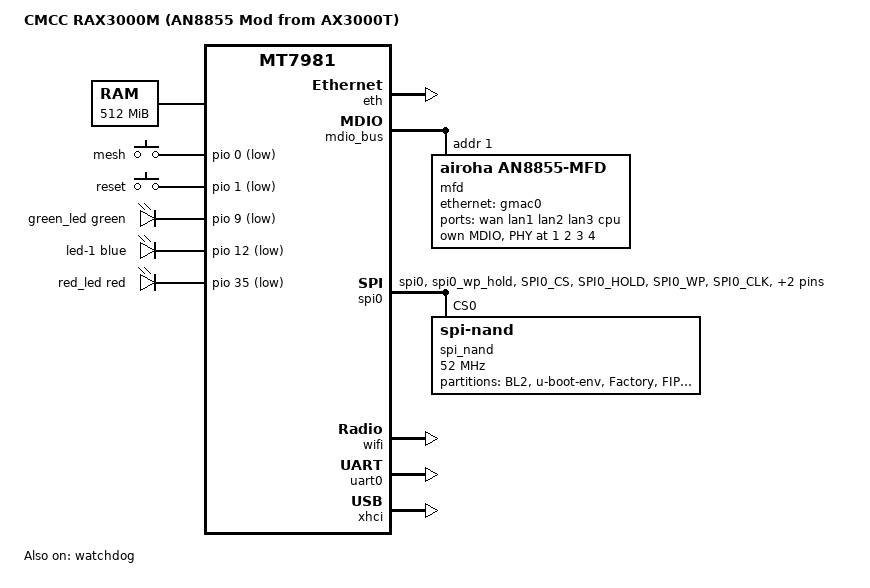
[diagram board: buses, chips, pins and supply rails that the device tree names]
// SPDX-License-Identifier: GPL-2.0-or-later OR MIT
/*
 * Modified Xiaomi AX3000T DTS for CMCC RAX3000Me (AN8855)
 * 适配机型：RAX3000Me (AN8855)
 * 核心修改：内存大小、LED、交换机、分区表、USB
 */

/dts-v1/;
#include <dt-bindings/input/input.h>
#include <dt-bindings/gpio/gpio.h>
#include <dt-bindings/leds/common.h>

#include "mt7981.dtsi"

/ {
	/* 模型名称改一下，方便识别，编译不影响 */
	model = "CMCC RAX3000M (AN8855 Mod from AX3000T)";
	compatible = "cmcc,rax3000m", "xiaomi,mi-router-ax3000t", "mediatek,mt7981";

	aliases {
		serial0 = &uart0;
		/* 映射 RAX3000M 的 LED (红/绿) */
		led-boot = &red_led;
		led-failsafe = &red_led;
		led-running = &green_led;
		led-upgrade = &green_led;
	};

	chosen {
		stdout-path = "serial0:115200n8";
	};

	memory {
		/* RAX3000M 是 512MB 内存，小米是 256MB。这里必须改为 512MB */
		reg = <0 0x40000000 0 0x20000000>;
	};

	gpio-keys {
		compatible = "gpio-keys";

		button-mesh {
			label = "mesh";
			/* RAX3000M Mesh 键 */
			gpios = <&pio 0 GPIO_ACTIVE_LOW>;
			linux,code = <BTN_9>;
			linux,input-type = <EV_SW>;
		};

		button-reset {
			label = "reset";
			/* RAX3000M Reset 键 */
			gpios = <&pio 1 GPIO_ACTIVE_LOW>;
			linux,code = <KEY_RESTART>;
		};
	};

	gpio-leds {
		compatible = "gpio-leds";

		/* RAX3000M 绿色 LED (GPIO 9) */
		green_led: led-0 {
			color = <LED_COLOR_ID_GREEN>;
			function = LED_FUNCTION_STATUS;
			gpios = <&pio 9 GPIO_ACTIVE_LOW>;
		};

		/* RAX3000M 蓝色 LED (GPIO 12) */
		led-1 {
			color = <LED_COLOR_ID_BLUE>;
			function = LED_FUNCTION_STATUS;
			gpios = <&pio 12 GPIO_ACTIVE_LOW>;
		};

		/* RAX3000M 红色 LED (GPIO 35) */
		red_led: led-2 {
			color = <LED_COLOR_ID_RED>;
			function = LED_FUNCTION_STATUS;
			gpios = <&pio 35 GPIO_ACTIVE_LOW>;
		};
	};
};

&eth {
	status = "okay";

	/* 适配 AN8855，CPU 口连 GMAC0 */
	gmac0: mac@0 {
		compatible = "mediatek,eth-mac";
		reg = <0>;
		phy-mode = "2500base-x";

		fixed-link {
			speed = <2500>;
			full-duplex;
			pause;
		};
	};
};

&mdio_bus {
	/* 彻底移除 MT7531，只保留 AN8855 MFD */
	mfd: mfd@1 {
		compatible = "airoha,an8855-mfd";
		reg = <1>;
	};
};

/* AN8855 交换机详细配置 */
&mfd {
	efuse {
		compatible = "airoha,an8855-efuse";
		#nvmem-cell-cells = <0>;

		nvmem-layout {
			compatible = "fixed-layout";
			#address-cells = <1>;
			#size-cells = <1>;

			shift_sel_port0_tx_a: shift-sel-port0-tx-a@c { reg = <0xc 0x4>; };
			shift_sel_port0_tx_b: shift-sel-port0-tx-b@10 { reg = <0x10 0x4>; };
			shift_sel_port0_tx_c: shift-sel-port0-tx-c@14 { reg = <0x14 0x4>; };
			shift_sel_port0_tx_d: shift-sel-port0-tx-d@18 { reg = <0x18 0x4>; };
			shift_sel_port1_tx_a: shift-sel-port1-tx-a@1c { reg = <0x1c 0x4>; };
			shift_sel_port1_tx_b: shift-sel-port1-tx-b@20 { reg = <0x20 0x4>; };
			shift_sel_port1_tx_c: shift-sel-port1-tx-c@24 { reg = <0x24 0x4>; };
			shift_sel_port1_tx_d: shift-sel-port1-tx-d@28 { reg = <0x28 0x4>; };
			shift_sel_port2_tx_a: shift-sel-port2-tx-a@2c { reg = <0x2c 0x4>; };
			shift_sel_port2_tx_b: shift-sel-port2-tx-b@30 { reg = <0x30 0x4>; };
			shift_sel_port2_tx_c: shift-sel-port2-tx-c@34 { reg = <0x34 0x4>; };
			shift_sel_port2_tx_d: shift-sel-port2-tx-d@38 { reg = <0x38 0x4>; };
			shift_sel_port3_tx_a: shift-sel-port3-tx-a@4c { reg = <0x4c 0x4>; };
			shift_sel_port3_tx_b: shift-sel-port3-tx-b@50 { reg = <0x50 0x4>; };
			shift_sel_port3_tx_c: shift-sel-port3-tx-c@54 { reg = <0x54 0x4>; };
			shift_sel_port3_tx_d: shift-sel-port3-tx-d@58 { reg = <0x58 0x4>; };
		};
	};

	ethernet-switch {
		compatible = "airoha,an8855-switch";
		/* 确保 status 是 okay */
		status = "okay";
		reset-gpios = <&pio 39 GPIO_ACTIVE_HIGH>;
		airoha,ext-surge;

		ports {
			#address-cells = <1>;
			#size-cells = <0>;

			port@0 {
				reg = <0>;
				label = "wan";
				phy-mode = "internal";
				phy-handle = <&internal_phy1>;
			};

			port@1 {
				reg = <1>;
				label = "lan1";
				phy-mode = "internal";
				phy-handle = <&internal_phy2>;
			};

			port@2 {
				reg = <2>;
				label = "lan2";
				phy-mode = "internal";
				phy-handle = <&internal_phy3>;
			};

			port@3 {
				reg = <3>;
				label = "lan3";
				phy-mode = "internal";
				phy-handle = <&internal_phy4>;
			};

			port@5 {
				reg = <5>;
				label = "cpu";
				ethernet = <&gmac0>;
				phy-mode = "2500base-x";

				fixed-link {
					speed = <2500>;
					full-duplex;
					pause;
				};
			};
		};
	};

	mdio {
		compatible = "airoha,an8855-mdio";
		#address-cells = <1>;
		#size-cells = <0>;

		internal_phy1: phy@1 {
			reg = <1>;
			nvmem-cells = <&shift_sel_port0_tx_a>, <&shift_sel_port0_tx_b>, <&shift_sel_port0_tx_c>, <&shift_sel_port0_tx_d>;
			nvmem-cell-names = "tx_a", "tx_b", "tx_c", "tx_d";
		};
		internal_phy2: phy@2 {
			reg = <2>;
			nvmem-cells = <&shift_sel_port1_tx_a>, <&shift_sel_port1_tx_b>, <&shift_sel_port1_tx_c>, <&shift_sel_port1_tx_d>;
			nvmem-cell-names = "tx_a", "tx_b", "tx_c", "tx_d";
		};
		internal_phy3: phy@3 {
			reg = <3>;
			nvmem-cells = <&shift_sel_port2_tx_a>, <&shift_sel_port2_tx_b>, <&shift_sel_port2_tx_c>, <&shift_sel_port2_tx_d>;
			nvmem-cell-names = "tx_a", "tx_b", "tx_c", "tx_d";
		};
		internal_phy4: phy@4 {
			reg = <4>;
			nvmem-cells = <&shift_sel_port3_tx_a>, <&shift_sel_port3_tx_b>, <&shift_sel_port3_tx_c>, <&shift_sel_port3_tx_d>;
			nvmem-cell-names = "tx_a", "tx_b", "tx_c", "tx_d";
		};
	};
};

/* * 关键部分：分区表覆盖
 * 必须把小米的分区表改成 RAX3000M 的，否则 WiFi 读不到数据
 */
&spi0 {
	pinctrl-names = "default";
	pinctrl-0 = <&spi0_flash_pins>;
	status = "okay";

	spi_nand: flash@0 {
		#address-cells = <1>;
		#size-cells = <1>;
		compatible = "spi-nand";
		reg = <0>;

		spi-cal-enable;
		spi-cal-mode = "read-data";
		spi-cal-datalen = <7>;
		spi-cal-data = /bits/ 8 <0x53 0x50 0x49 0x4e 0x41 0x4e 0x44>;
		spi-cal-addrlen = <5>;
		spi-cal-addr = /bits/ 32 <0x0 0x0 0x0 0x0 0x0>;

		spi-max-frequency = <52000000>;
		spi-tx-bus-width = <4>;
		spi-rx-bus-width = <4>;

		partitions: partitions {
			compatible = "fixed-partitions";
			#address-cells = <1>;
			#size-cells = <1>;

			/* 0x0 - 0x100000 */
			partition@0 {
				label = "BL2";
				reg = <0x00 0x100000>;
				read-only;
			};

			/* 0x100000 - 0x180000 */
			partition@100000 {
				label = "u-boot-env";
				reg = <0x100000 0x80000>;
			};

			/* 0x180000 - 0x380000 (Factory分区，WiFi 数据在这里) */
			factory: partition@180000 {
				label = "Factory";
				reg = <0x180000 0x200000>;
				read-only;

				nvmem-layout {
					compatible = "fixed-layout";
					#address-cells = <1>;
					#size-cells = <1>;

					eeprom_factory_0: eeprom@0 {
						reg = <0x0 0x1000>;
					};

					macaddr_factory_4: macaddr@4 {
						compatible = "mac-base";
						reg = <0x4 0x6>;
						#nvmem-cell-cells = <1>;
					};
				};
			};

			/* 0x380000 - 0x580000 */
			partition@380000 {
				label = "FIP";
				reg = <0x380000 0x200000>;
				read-only;
			};

			/* 0x580000 - End (固件分区) */
			partition@580000 {
				label = "ubi";
				reg = <0x580000 0x7600000>; /* 这里的长度可以根据 Flash 大小调整，或者写大一点也没事 */
			};
		};
	};
};

&pio {
	spi0_flash_pins: spi0-pins {
		mux {
			function = "spi";
			groups = "spi0", "spi0_wp_hold";
		};

		conf-pu {
			pins = "SPI0_CS", "SPI0_HOLD", "SPI0_WP";
			drive-strength = <MTK_DRIVE_8mA>;
			bias-pull-up = <MTK_PUPD_SET_R1R0_11>;
		};

		conf-pd {
			pins = "SPI0_CLK", "SPI0_MOSI", "SPI0_MISO";
			drive-strength = <MTK_DRIVE_8mA>;
			bias-pull-down = <MTK_PUPD_SET_R1R0_11>;
		};
	};
};

&wifi {
	status = "okay";
	/* 关键：关联到上面定义的 Factory 分区 */
	nvmem-cells = <&eeprom_factory_0>;
	nvmem-cell-names = "eeprom";
};

&uart0 {
	status = "okay";
};

&watchdog {
	status = "okay";
};

/* RAX3000M 开启 USB */
&xhci {
	status = "okay";
};
